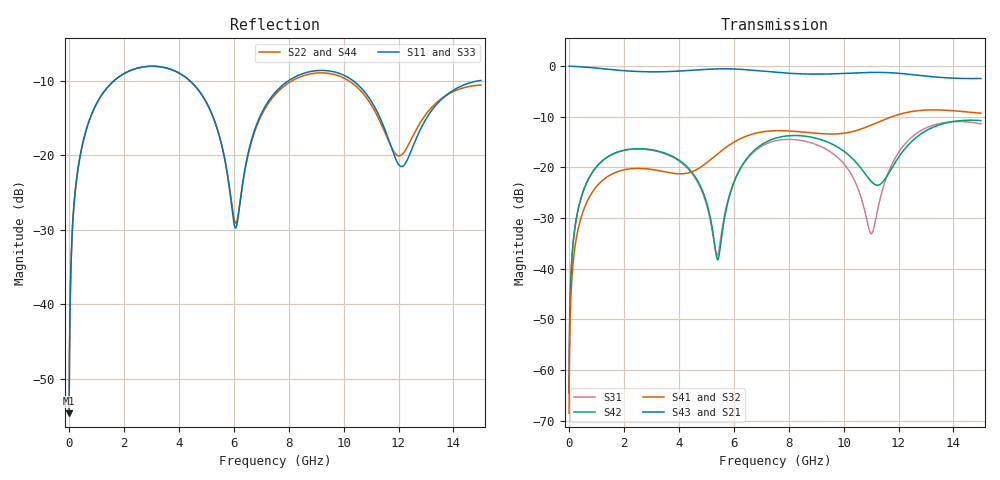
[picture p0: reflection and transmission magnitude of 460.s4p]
! Created with skrf 1.8.0 (http://scikit-rf.org).
# GHz S RI R 50.0
!freq ReS11 ImS11 ReS12 ImS12 ReS13 ImS13
! ReS14 ImS14
! ReS21 ImS21 ReS22 ImS22 ReS23 ImS23
! ReS24 ImS24
! ReS31 ImS31 ReS32 ImS32 ReS33 ImS33
! ReS34 ImS34
! ReS41 ImS41 ReS42 ImS42 ReS43 ImS43
! ReS44 ImS44
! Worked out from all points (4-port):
!   2499 points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, 5 MHz to 15 GHz, reference 50 ohm
!   strongest paths, dB at 5 MHz, 3.476 GHz, 7.19 GHz, 11.1 GHz, 15 GHz:
!     S43: 0.0, -1.1, -1.1, -1.2, -2.4
!     S21: 0.0, -1.1, -1.1, -1.2, -2.4
!     S41: -68.6, -20.9, -12.9, -11.4, -9.3
!     S32: -68.6, -20.9, -12.9, -11.4, -9.3
!     S42: -64.6, -17.2, -15.0, -23.2, -10.8
!     S31: -64.6, -17.3, -15.3, -32.0, -11.4
!   lowest |S11| = -54.6 dB at 5 MHz (marker M1), VSWR 1.00, Z = 50.1 + j0.113 ohm
!   |S11| at or under -10 dB: start of sweep to 1.642 GHz; 4.4 GHz to 7.997 GHz (3.597 GHz wide, 58 % of centre); 10.34 GHz to 14.94 GHz (4.596 GHz wide, 36.4 % of centre)
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0.005  0.00148 0.00113  0.9985 -0.00289  7.38e-05 0.000584  -7.18e-05 -0.000366
       0.9985 -0.00289  0.00148 0.00113  -7.18e-05 -0.000366  7.39e-05 0.000584
       7.38e-05 0.000584  -7.18e-05 -0.000366  0.00148 0.00113  0.9985 -0.00289
       -7.18e-05 -0.000366  7.39e-05 0.000584  0.9985 -0.00289  0.00148 0.00113
0.3126303  0.0203 0.0748  0.9724 -0.1803  0.00901 0.035  -0.00758 -0.0218
           0.9724 -0.1803  0.0203 0.0748  -0.00758 -0.0218  0.00917 0.035
           0.00901 0.035  -0.00758 -0.0218  0.0203 0.0748  0.9724 -0.1802
           -0.00758 -0.0218  0.00917 0.035  0.9724 -0.1802  0.0203 0.0748
1.469362  0.2242 0.191  0.6439 -0.6677  0.1074 0.0724  -0.0804 -0.021
          0.6439 -0.6677  0.2235 0.1914  -0.0804 -0.021  0.1095 0.0702
          0.1074 0.0724  -0.0804 -0.021  0.2242 0.191  0.6439 -0.6676
          -0.0804 -0.021  0.1095 0.0702  0.6439 -0.6676  0.2235 0.1914
5.858691  0.0346 -0.0449  -0.9249 -0.161  -0.0129 0.0539  -0.0268 0.1652
          -0.9249 -0.161  0.0375 -0.0455  -0.0268 0.1652  -0.006 0.0534
          -0.0129 0.0539  -0.0268 0.1652  0.0343 -0.0445  -0.9249 -0.1612
          -0.0268 0.1652  -0.006 0.0534  -0.9249 -0.1612  0.0375 -0.045
9.460192  0.364 -0.0546  0.0312 0.8342  0.1336 -0.0583  0.2022 -0.0689
          0.0312 0.8342  0.3518 -0.039  0.2022 -0.0688  0.1343 -0.1136
          0.1336 -0.0583  0.2022 -0.0688  0.3607 -0.0549  0.0304 0.8356
          0.2022 -0.0689  0.1343 -0.1136  0.0304 0.8356  0.3487 -0.0373
11.01084  0.168 -0.1568  0.6321 0.591  -0.0192 -0.0109  0.1733 -0.1963
          0.6321 0.591  0.1718 -0.1327  0.1738 -0.1961  -0.0506 -0.052
          -0.0192 -0.0109  0.1738 -0.1961  0.1622 -0.1541  0.6331 0.5919
          0.1733 -0.1963  -0.0506 -0.052  0.6331 0.5919  0.1697 -0.1267
15  0.3167 -0.0214  0.2618 -0.7089  0.2689 -0.0107  -0.3421 -0.0132
    0.2618 -0.7089  0.2947 -0.0198  -0.343 -0.0127  0.283 -0.0618
    0.2689 -0.0107  -0.343 -0.0127  0.3184 -0.0164  0.2648 -0.7068
    -0.3421 -0.0132  0.283 -0.0618  0.2648 -0.7068  0.2988 -0.0194
